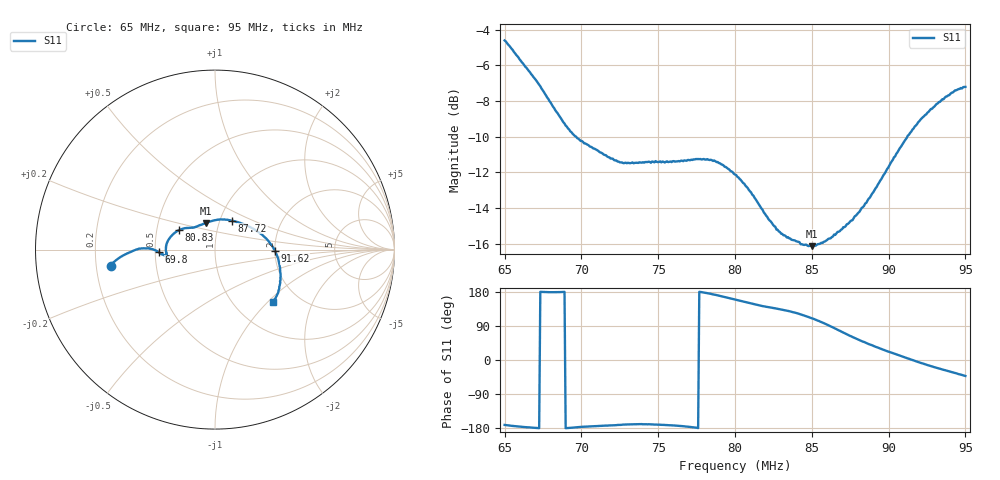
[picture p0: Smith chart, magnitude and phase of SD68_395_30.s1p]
! NanoVNA-App
! Date: 2025-08-02 16:10:44
! Start: 65MHz Stop: 95MHz Points: 401
! S-Parameter data: F S11
# Hz S RI R 50
!  Frequency  S11_Real  S11_Imag
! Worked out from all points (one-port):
!   401 points, 65 MHz to 95 MHz, reference 50 ohm
!   lowest |S11| = -16.1 dB at 85.03 MHz (marker M1), VSWR 1.37, Z = 43.2 + j13 ohm
!   |S11| at or under -10 dB: 69.66 MHz to 91.22 MHz (21.56 MHz wide, 26.8 % of centre)
!   S11 on the Smith chart (normalised r, x): 65 MHz: 0.26, -0.07; 69.8 MHz: 0.52, -0.02; 80.83 MHz: 0.65, +0.15; 87.72 MHz: 1.14, +0.38; 91.62 MHz: 2.00, -0.03; 95 MHz: 1.49, -1.08
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6.5e7  -0.5813 -0.0892
6.5975e7  -0.5195 -0.0375
6.725e7  -0.4422 -0.000757
6.785e7  -0.4031 0.00641
6.875e7  -0.3515 0.00306
6.98e7  -0.3118 -0.0149
7.25e7  -0.2649 -0.0414
7.4075e7  -0.2631 -0.0487
7.625e7  -0.2681 -0.0303
7.7375e7  -0.273 -0.0086
7.835e7  -0.2712 0.023
7.9025e7  -0.2615 0.0508
8e7  -0.2324 0.086
8.0825e7  -0.1994 0.1091
8.27e7  -0.1244 0.1213
8.375e7  -0.0963 0.1309
8.5025e7  -0.0529 0.147
8.6225e7  0.00355 0.1642
8.75e7  0.0822 0.1637
8.7725e7  0.095 0.1612
8.9525e7  0.2102 0.117
9.035e7  0.2647 0.0814
9.125e7  0.3177 0.0227
9.1625e7  0.3333 -0.00669
9.2375e7  0.3567 -0.071
9.335e7  0.3643 -0.1554
9.425e7  0.3534 -0.2328
9.5e7  0.3231 -0.2927
